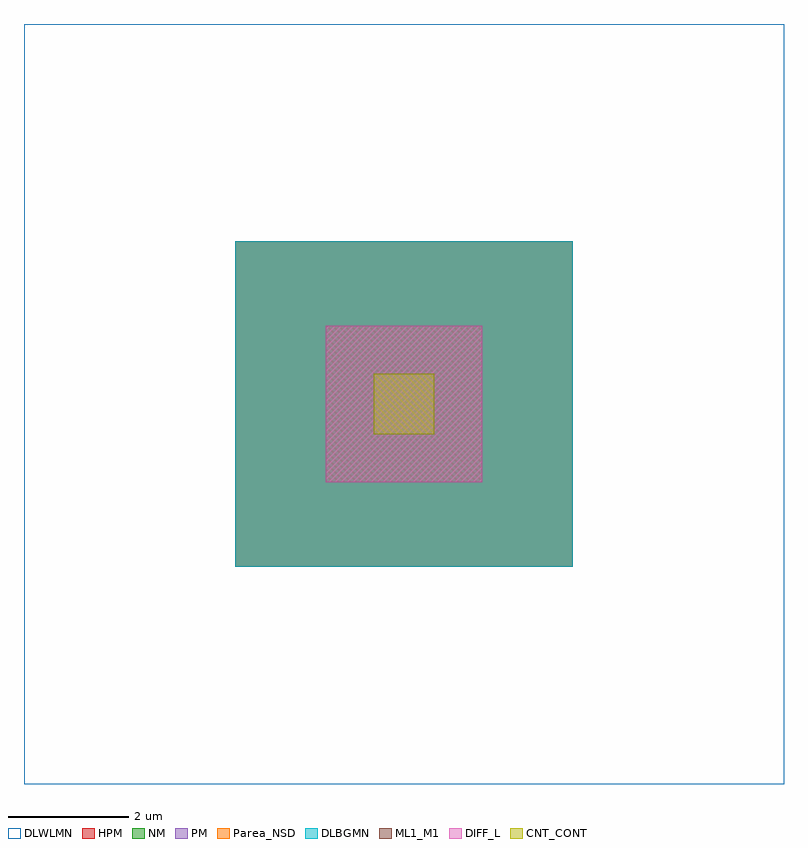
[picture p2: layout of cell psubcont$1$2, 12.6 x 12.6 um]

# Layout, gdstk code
import gdstk
lib = gdstk.Library(unit=1e-6, precision=1e-07)
def R(c, l, rs):  # rectangles x0, y0, x1, y1
    for r in rs: c.add(gdstk.rectangle(r[:2], r[2:], *l))
DIFF_L = (3, 0)
NM = (7, 0)
CNT_CONT = (11, 0)
ML1_M1 = (13, 0)
Parea_NSD = (28, 0)
HPM = (33, 0)
PM = (35, 0)
DLWLMN = (151, 0)
DLBGMN = (178, 0)

dcont_1_2 = lib.new_cell('DCONT$1$2')
R(dcont_1_2, DIFF_L, [(-1.3,-1.3,1.3,1.3)])
R(dcont_1_2, CNT_CONT, [(-0.5,-0.5,0.5,0.5)])
R(dcont_1_2, ML1_M1, [(-1.3,-1.3,1.3,1.3), (-0.5,-0.5,0.5,0.5)])

psubcont_1_2 = lib.new_cell('psubcont$1$2')
R(psubcont_1_2, NM, [(-2.8,-2.7,2.8,2.7)])
R(psubcont_1_2, Parea_NSD, [(-2.8,-2.7,2.8,2.7)])
R(psubcont_1_2, HPM, [(-2.8,-2.7,2.8,2.7)])
R(psubcont_1_2, PM, [(-2.8,-2.7,2.8,2.7)])
R(psubcont_1_2, DLWLMN, [(-6.3,-6.3,6.3,6.3)])
R(psubcont_1_2, DLBGMN, [(-2.8,-2.7,2.8,2.7)])
psubcont_1_2.add(gdstk.Reference(dcont_1_2, (0,0)))

lib.write_gds('psubcont_1_2.gds')
